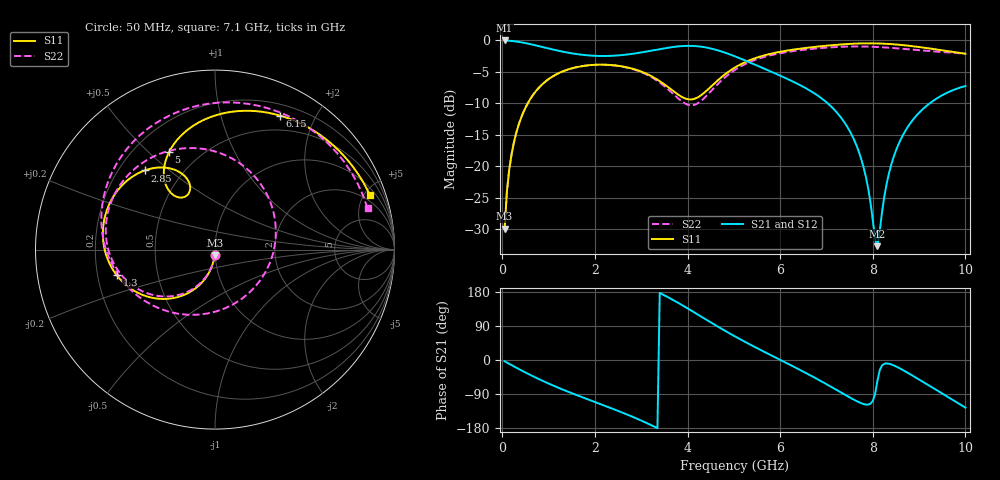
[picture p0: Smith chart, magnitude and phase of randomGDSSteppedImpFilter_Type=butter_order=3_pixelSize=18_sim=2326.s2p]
! freq	dB(S11)	phase(S11)	dB(S12)	phase(S12)
!  dB(S21)	phase(S21)	dB(S22)	phase(S22)
!S-par simulation data
#  GHz  S  DB  R 50
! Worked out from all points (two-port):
!   200 points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, 50 MHz to 10 GHz, reference 50 ohm
!   highest |S21| = -0.01 dB at 50 MHz (marker M1); lowest = -32.7 dB at 8.1 GHz (marker M2)
!   |S21| within 3 dB of the highest: start of sweep to 5.183 GHz
!   lowest |S11| = -30.0 dB at 50 MHz (marker M3), VSWR 1.07, Z = 49.7 - j3.15 ohm
!   |S11| at or under -10 dB: start of sweep to 550.6 MHz
!   |S22| runs from -30.0 to -1.0 dB; largest |S21 - S12| = 0
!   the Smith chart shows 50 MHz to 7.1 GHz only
!   S11 on the Smith chart (normalised r, x): 50 MHz: 0.99, -0.06; 1.3 GHz: 0.28, -0.12; 2.85 GHz: 0.31, +0.41; 5 GHz: 0.34, +0.58; 6.15 GHz: 0.32, +1.55; 7.1 GHz: 1.46, +5.43
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0.05  -29.97 -93.5  -0.01 -3.4  -0.01 -3.4  -29.97 -93.7
0.15  -20.56 -100.3  -0.05 -10.2  -0.05 -10.2  -20.56 -100.8
0.4  -12.44 -116.4  -0.29 -26.6  -0.29 -26.6  -12.44 -117.9
1.3  -4.95 -165.4  -1.79 -77.7  -1.79 -77.7  -4.95 -171.1
1.75  -4.06 174.6  -2.31 -99.4  -2.31 -99.4  -4.08 165.8
2.85  -4.58 131.6  -2.09 -151.8  -2.09 -151.8  -4.66 104.8
3.4  -6.48 114.5  -1.38 177.0  -1.38 177.0  -6.71 60.8
3.9  -9.08 113.9  -0.90 143.6  -0.90 143.6  -9.82 -5.1
4.35  -8.40 127.2  -1.06 110.5  -1.06 110.5  -9.26 -88.8
5  -4.42 115.2  -2.47 63.9  -2.47 63.9  -4.80 -170.5
5.05  -4.20 113.2  -2.61 60.5  -2.61 60.5  -4.56 -175.2
5.55  -2.61 91.6  -4.16 28.2  -4.16 28.2  -2.87 142.6
6.15  -1.62 64.2  -6.11 -8.8  -6.11 -8.8  -1.85 96.6
6.7  -1.08 38.6  -8.24 -43.7  -8.24 -43.7  -1.34 51.9
7.1  -0.78 19.6  -10.51 -70.7  -10.51 -70.7  -1.10 15.3
7.55  -0.54 -2.6  -15.10 -102.0  -15.10 -102.0  -0.97 -31.2
8.1  -0.48 -30.6  -32.74 -55.3  -32.74 -55.3  -1.05 -93.6
8.35  -0.57 -43.4  -21.14 -9.8  -21.14 -9.8  -1.17 -122.5
8.7  -0.79 -61.1  -14.44 -29.9  -14.44 -29.9  -1.38 -162.3
9  -1.06 -76.0  -11.51 -51.5  -11.51 -51.5  -1.56 164.6
9.5  -1.58 -100.5  -8.73 -88.4  -8.73 -88.4  -1.85 111.4
10  -2.12 -125.2  -7.25 -125.7  -7.25 -125.7  -2.09 59.9
